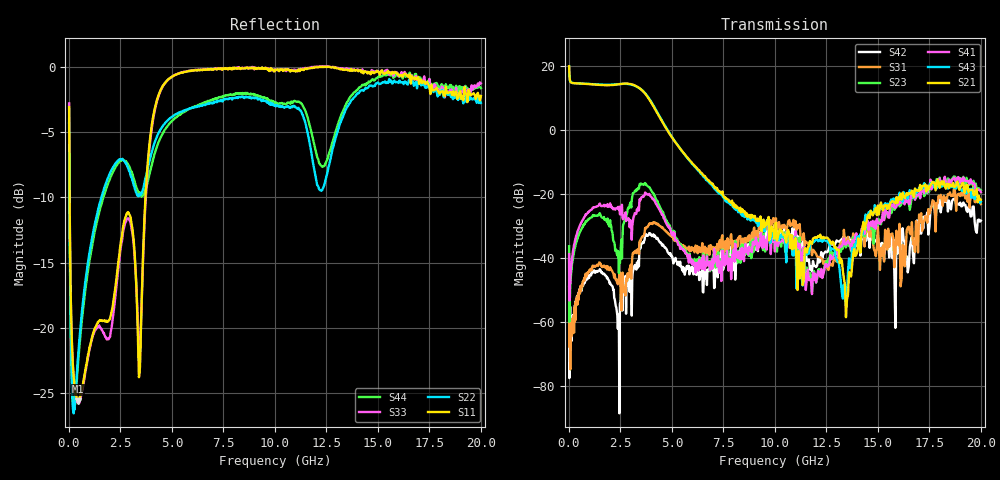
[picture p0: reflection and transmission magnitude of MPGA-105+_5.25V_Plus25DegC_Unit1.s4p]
!Mini-Circuits Laboratory
!S-Parameters
!Model: MPGA-105+
!Run / Lot / Date Code: NA / BP384P001-05 / 1348
!Fixture: NA; TB-561+
!AUTO PORT EXTENSION DONE: PORT<1>=113.35ps; PORT<2>=112.76ps; PORT<3>=112.16ps; PORT<4>=112.11ps
!Network Analyzer: PNA-X N5242A - 423 4 ports;  Serial number: 71256
!Date: 2/15/2014
!S/N: Unit# 1
!Correction: S11(Full 4 Port(1,2,3,4))
!S12(Full 4 Port(1,2,3,4))
!S13(Full 4 Port(1,2,3,4))
!S14(Full 4 Port(1,2,3,4))
!S21(Full 4 Port(1,2,3,4))
!S22(Full 4 Port(1,2,3,4))
!S23(Full 4 Port(1,2,3,4))
!S24(Full 4 Port(1,2,3,4))
!S31(Full 4 Port(1,2,3,4))
!S32(Full 4 Port(1,2,3,4))
!S33(Full 4 Port(1,2,3,4))
!S34(Full 4 Port(1,2,3,4))
!S41(Full 4 Port(1,2,3,4))
!S42(Full 4 Port(1,2,3,4))
!S43(Full 4 Port(1,2,3,4))
!S44(Full 4 Port(1,2,3,4))
!S4P File: Measurements: <S11,S12,S13,S14>,
!<S21,S22,S23,S24>,
!<S31,S32,S33,S34>,
!<S41,S42,S43,S44>:
# Hz S  dB  R 50
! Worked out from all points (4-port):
!   660 points, 10 MHz to 20 GHz, reference 50 ohm
!   strongest paths, dB at 10 MHz, 2.65 GHz, 6.775 GHz, 11.8 GHz, 20 GHz:
!     S21: 20.1, 14.6, -15.7, -35.6, -21.7
!     S43: 20.1, 14.6, -16.1, -35.3, -22.3
!     S41: -38.8, -27.2, -42.3, -51.3, -19.4
!     S23: -36.3, -29.4, -41.2, -50.6, -18.8
!     S31: -49.0, -49.1, -37.2, -39.1, -23.1
!     S42: -40.5, -49.6, -43.4, -44.2, -28.3
!   lowest |S11| = -25.6 dB at 420 MHz (marker M1), VSWR 1.11, Z = 47.7 - j4.59 ohm
!   |S11| at or under -10 dB: 33.48 MHz to 3.715 GHz (3.682 GHz wide, 196 % of centre)
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1e7  -3.08 -38.7  -22.41 46.5  -45.32 -53.3  -50.16 -12.2
     20.06 158.9  -4.32 -41.6  -36.33 -44.1  -40.78 -6.2
     -48.99 -6.3  -51.47 -16.6  -2.79 -39.3  -22.54 46.1
     -38.78 21.2  -40.49 -2.7  20.09 159.9  -3.99 -42.4
4.2e8  -25.64 -113.5  -18.94 -17.6  -55.31 106.5  -67.33 145.9
       14.69 149.6  -22.72 128.5  -33.66 47.4  -53.65 93.6
       -54.50 97.2  -70.59 139.6  -25.56 -113.4  -18.97 -17.6
       -31.66 47.3  -51.84 80.6  14.71 149.6  -23.24 133.8
1.525e9  -19.44 75.4  -20.51 -68.0  -42.86 69.6  -58.37 110.4
         14.20 78.3  -10.29 63.4  -26.41 -65.6  -43.04 53.4
         -41.77 45.0  -59.50 100.7  -19.98 78.9  -20.51 -69.3
         -23.41 -58.5  -43.69 33.4  14.31 77.6  -10.80 61.9
2.65e9  -12.10 -153.0  -27.70 -154.5  -49.83 45.6  -58.84 70.9
        14.62 -1.1  -7.14 -11.0  -29.41 -21.8  -44.77 -33.7
        -49.06 -99.3  -58.15 91.3  -12.50 -155.1  -27.55 -153.0
        -27.16 -139.3  -49.65 -159.0  14.58 -3.7  -7.14 -15.2
3.35e9  -20.72 124.5  -23.15 -31.0  -45.82 -132.8  -52.30 -119.3
        13.55 -69.7  -9.86 -102.4  -18.46 -124.3  -36.52 -159.9
        -37.89 157.6  -63.89 -160.4  -19.89 128.1  -23.96 -33.7
        -25.09 -145.9  -42.98 177.9  13.49 -71.4  -9.56 -97.2
4e9  -4.74 171.1  -19.86 -110.0  -28.94 110.9  -43.45 116.1
     8.66 -135.9  -6.65 151.9  -18.85 121.9  -31.17 102.7
     -29.14 103.1  -45.16 108.0  -4.98 167.2  -19.95 -113.1
     -20.87 117.5  -32.71 109.4  8.90 -138.4  -7.63 151.7
2e10  -2.23 4.9  -21.78 -19.0  -23.08 74.6  -19.30 -72.5
      -21.72 -18.7  -2.76 -5.3  -18.78 -74.2  -28.36 113.1
      -23.10 74.2  -18.76 -74.4  -1.26 -17.5  -22.27 -18.3
      -19.36 -72.1  -28.26 112.4  -22.30 -18.2  -1.62 -21.5
